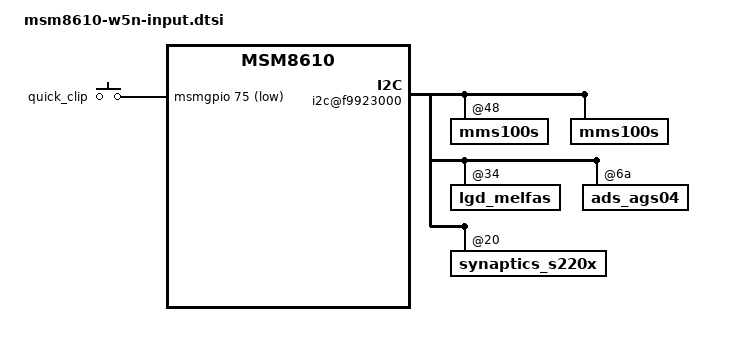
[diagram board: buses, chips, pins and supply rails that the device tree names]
/* Copyright (c) 2012, Code Aurora Forum. All rights reserved.
 *
 * This program is free software; you can redistribute it and/or modify
 * it under the terms of the GNU General Public License version 2 and
 * only version 2 as published by the Free Software Foundation.
 *
 * This program is distributed in the hope that it will be useful,
 * but WITHOUT ANY WARRANTY; without even the implied warranty of
 * MERCHANTABILITY or FITNESS FOR A PARTICULAR PURPOSE.  See the
 * GNU General Public License for more details.
 */

&soc {
	i2c@f9923000{
		mms100s@48 {
			melfas,product = "I2S45B";
			melfas,max-x = <480>;
			melfas,max-y = <800>;
                        melfas,use_vdd_i2c = <1>;
			melfas,gpio-vdd-en = <62>;
			melfas,key-map = <158 139>;
			melfas,fw-image-name = "melfas/w5n_global_com/w5n_global_com_rev_b_v101.mfsb";
			status = "ok";
			revision = "rev_b";
		};

		mms100s@48_rev_c {
			melfas,product = "I2S45B";
			melfas,max-x = <480>;
			melfas,max-y = <800>;
                        melfas,use_vdd_i2c = <1>;
			melfas,gpio-vdd-en = <82>;
			melfas,key-map = <158 139>;
			melfas,fw-image-name = "melfas/w5n_global_com/w5n_global_com_rev_b_v101.mfsb";
			status = "ok";
			revision = "rev_c";
		};

		lgd_melfas@34 {
			status = "ok";
			revision = "rev_a";
		};

		ads_ags04@6a {
			status = "ok";
			revision = "rev_a";
		};

		synaptics_red@20 {
			status = "disable";
			revision = "rev_d...";
			synaptics,button-map = <158 172 139 249>;
			synaptics,gpio_vdd_en  = <82>;
		};

		synaptics_s220x@20 {
			status = "ok";
			revision = "rev_d...";
			synaptics,fw_version_info = <0x82 0x04 0x51>;
			synaptics,fw_image = "synaptics/w5n_global_com/PLG389-V1.10-PR1600582-DS4.3.5.1.16_1204518A.img", /* panel id 0 */
					     "synaptics/w5n_global_com/PLG317-V1.14-PR1600582-DS4.3.5.1.16_3204518E.img"; /* panel id 1 */
                        synaptics,panel_spec = "synaptics/w5n_global_com/w5n_Suntel_limit.txt", /* panel id 0 */
                        			"synaptics/w5n_global_com/w5n_Inotek_limit.txt";/* panel id 1 */
                        synaptics,global_access_pixel = <10>;
			lge,knock_on_type = <1>;
			synaptics,platform_data	{
				number_of_button = <4>;
				button_name = [9e ac 8b f9];
				x_max = <960>;
				y_max = <1600>;
				lcd_x = <480>;
				lcd_y = <800>;
				use_vio_regulator = <1>;
				gpio_vdd_en = <82>;
				/*maker_id  disable(0), enable(1)*/
				maker_id = <1>;
				maker_id_gpio = <77>;
				palm_detect_mode = <1>;
				ghost_detection_enable = <0>;
				ghost_detection_value = <200 5 4 6 5 5 10 500 100 6 5>;
			};				
		};
	};
	gpio_keys {
		quick_clip {
			label = "quick_clip";
			gpios = <&msmgpio 75 0x1>;
			linux,input-type = <1>;
			linux,code = <250>;
			gpio-key,wakeup;
			debounce-interval = <15>;
		};
	};
};
